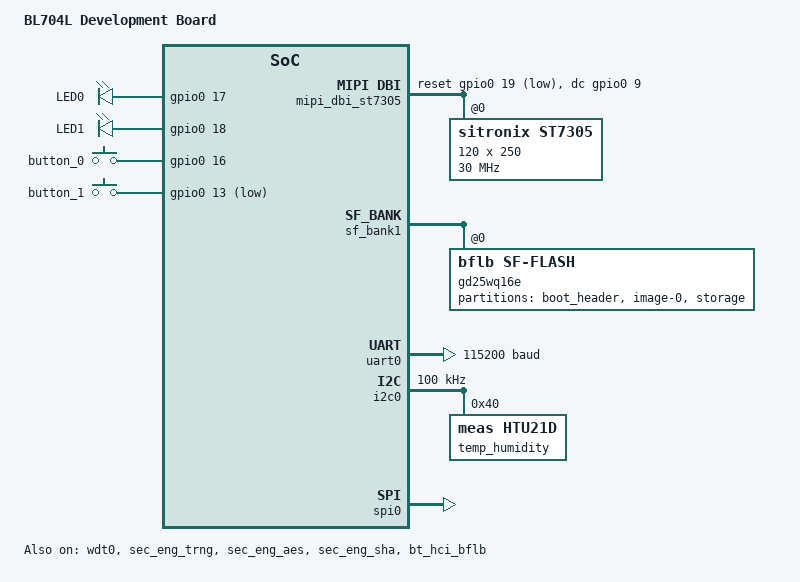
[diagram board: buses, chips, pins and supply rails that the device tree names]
/*
 * Copyright (c) 2026 MASSDRIVER EI (massdriver.space)
 *
 * SPDX-License-Identifier: Apache-2.0
 */

/dts-v1/;

#include <bflb/bl704l.dtsi>
#include "bl704l_dvk-pinctrl.dtsi"

/ {
	model = "BL704L Development Board";
	compatible = "bflb,bl704l";

	chosen {
		zephyr,flash = &gd25wq16e;
		zephyr,flash-controller = &sf_bank1;
		zephyr,code-partition = &slot0_partition;
		zephyr,itcm = &itcm;
		zephyr,sram = &sram0_btle;
		zephyr,console = &uart0;
		zephyr,shell-uart = &uart0;
		zephyr,entropy = &sec_eng_trng;
		zephyr,bt-hci = &bt_hci_bflb;
		zephyr,display = &st7305;
	};

	aliases {
		led0 = &led_0;
		led1 = &led_1;
		pwm-led0 = &pwm_led_0;
		pwm-led1 = &pwm_led_1;
		sw0 = &button_0;
		sw1 = &button_1;
		watchdog0 = &wdt0;
		ambient-temp0 = &temp_humidity;
	};

	leds {
		compatible = "gpio-leds";

		led_0: led_0 {
			gpios = <&gpio0 17 GPIO_ACTIVE_HIGH>;
			label = "LED0";
		};

		led_1: led_1 {
			gpios = <&gpio0 18 GPIO_ACTIVE_HIGH>;
			label = "LED1";
		};
	};

	buttons {
		compatible = "gpio-keys";

		button_0: sw2 {
			gpios = <&gpio0 16 GPIO_ACTIVE_HIGH>;
			zephyr,code = <INPUT_KEY_0>;
		};

		button_1: sw3 {
			gpios = <&gpio0 13 (GPIO_PULL_UP | GPIO_ACTIVE_LOW)>;
			zephyr,code = <INPUT_KEY_1>;
		};
	};

	pwmleds: pwmleds {
		compatible = "pwm-leds";
		status = "disabled";

		pwm_led_0: pwm_led_0 {
			pwms = <&pwm1 1 PWM_MSEC(1) 0>;
			label = "LED0 PWM";
		};

		pwm_led_1: pwm_led_1 {
			pwms = <&pwm1 2 PWM_MSEC(1) 0>;
			label = "LED1 PWM";
		};
	};

	mipi_dbi_st7305 {
		compatible = "zephyr,mipi-dbi-spi";
		spi-dev = <&spi0>;
		dc-gpios = <&gpio0 9 GPIO_ACTIVE_HIGH>;
		reset-gpios = <&gpio0 19 GPIO_ACTIVE_LOW>;
		write-only;
		#address-cells = <1>;
		#size-cells = <0>;

		st7305: st7305@0 {
			compatible = "sitronix,st7305";
			mipi-max-frequency = <30000000>;
			reg = <0>;
			width = <120>;
			height = <250>;
			start-line = <0>;
			start-column = <72>;
			nvm-load = [17 02];
			gate-voltages = [11 04];
			vsh = [41 41 41 41];
			vsl = [32 32 32 32];
			vshn = [4b 4b 4b 4b];
			vsln = [00 00 00 00];
			osc-settings = <0xa6>;
			framerate = <0x5>;
			multiplex-ratio = <0x3f>;
			source-voltage = <0x0>;
			remap-value = <0x48>;
			panel-settings = <0x29>;
			inversion-on;
			mipi-mode = "MIPI_DBI_MODE_SPI_4WIRE";
		};
	};
};

&cpu0 {
	clock-frequency = <DT_FREQ_M(128)>;
};

&sf_ctrl {
	override-bank1;
};

&clk_flash {
	divider = <1>;
};

&sf_bank1 {
	reg = <0x23000000 DT_SIZE_K(2048)>;
	ranges = <0x0 0x23000000 DT_SIZE_K(2048)>;

	gd25wq16e: flash@0 {
		compatible = "bflb,sf-flash", "soc-nv-flash";
		reg = <0 DT_SIZE_K(2048)>;
		ranges;
		#address-cells = <1>;
		#size-cells = <1>;
		write-block-size = <4>;
		erase-block-size = <DT_SIZE_K(4)>;

		spi-bus-mode = <4>;
		read-dummy-cycles = <4>;
		read-command = <0xeb>;
		continuous-read-command = <0xa5>;
		sf-pad = <1>;
		jedec-id = [c8 65 15];

		partitions {
			ranges;
			#address-cells = <1>;
			#size-cells = <1>;

			boot_header_partition: partition@0 {
				compatible = "zephyr,mapped-partition";
				label = "boot_header";
				reg = <0x00000000 0x2000>;
				read-only;
			};

			slot0_partition: partition@2000 {
				compatible = "zephyr,mapped-partition";
				label = "image-0";
				reg = <0x00002000 (DT_SIZE_K(1536) - 0x2000)>;
				read-only;
			};

			storage_partition: partition@180000 {
				compatible = "zephyr,mapped-partition";
				label = "storage";
				reg = <0x00180000 DT_SIZE_K(512)>;
			};
		};
	};
};

&gpio0 {
	status = "okay";
};

&uart0 {
	status = "okay";
	current-speed = <115200>;

	pinctrl-0 = <&uart0_default>;
	pinctrl-1 = <&uart0_sleep>;
	pinctrl-names = "default", "sleep";
};

&i2c0 {
	status = "okay";
	clock-frequency = <I2C_BITRATE_STANDARD>;

	pinctrl-0 = <&i2c0_default>;
	pinctrl-names = "default";

	temp_humidity: htu21d@40 {
		compatible = "meas,htu21d";
		reg = <0x40>;
	};
};

&spi0 {
	status = "okay";

	cs-gpios = <&gpio0 10 GPIO_ACTIVE_LOW>;

	pinctrl-0 = <&spi0_default>;
	pinctrl-names = "default";
};

&wdt0 {
	status = "okay";
};

&sec_eng_trng {
	status = "okay";
};

&sec_eng_aes {
	status = "okay";
};

&sec_eng_sha {
	status = "okay";
};

&bt_hci_bflb {
	status = "okay";
};
